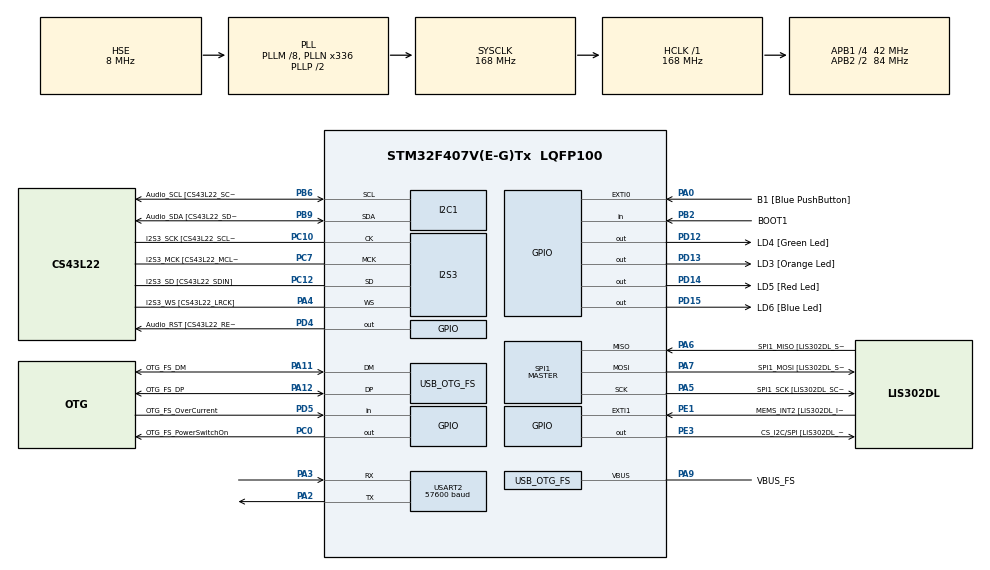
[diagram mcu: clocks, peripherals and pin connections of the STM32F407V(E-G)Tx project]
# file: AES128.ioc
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I2S3.AudioFreq-Half_Duplex_Master=I2S_AUDIOFREQ_96K
I2S3.ErrorAudioFreq=-2.34 %
I2S3.ErrorAudioFreq-Half_Duplex_Master=0.8 %
I2S3.FullDuplexMode=I2S_FULLDUPLEXMODE_DISABLE
I2S3.Instance=SPI$Index
I2S3.RealAudioFreq=93.75 KHz
I2S3.RealAudioFreq-Half_Duplex_Master=96.774 KHz
I2S3.VirtualMode=I2S_MODE_MASTER
Mcu.Family=STM32F4
Mcu.Name=STM32F407V(E-G)Tx
Mcu.Package=LQFP100
NVIC.OTG_FS_IRQn=true\:0\:0\:false\:false\:true\:true\:true\:true
NVIC.PriorityGroup=NVIC_PRIORITYGROUP_0
NVIC.USART2_IRQn=true\:0\:0\:false\:false\:true\:true\:true\:true
PA0-WKUP.GPIO_Label=B1 [Blue PushButton]
PA0-WKUP.GPIO_ModeDefaultEXTI=GPIO_MODE_EVT_RISING
PA0-WKUP.GPIO_PuPd=GPIO_NOPULL
PA0-WKUP.Signal=GPXTI0
PA10.GPIO_Label=OTG_FS_ID
PA10.GPIO_Mode=GPIO_MODE_AF_PP
PA10.GPIO_PuPd=GPIO_NOPULL
PA10.GPIO_Speed=GPIO_SPEED_FREQ_LOW
PA10.Signal=USB_OTG_FS_ID
PA11.GPIO_Label=OTG_FS_DM
PA11.GPIO_Mode=GPIO_MODE_AF_PP
PA11.GPIO_PuPd=GPIO_NOPULL
PA11.GPIO_Speed=GPIO_SPEED_FREQ_LOW
PA11.Mode=Host_Only
PA11.Signal=USB_OTG_FS_DM
PA12.GPIO_Label=OTG_FS_DP
PA12.GPIO_Mode=GPIO_MODE_AF_PP
PA12.GPIO_PuPd=GPIO_NOPULL
PA12.GPIO_Speed=GPIO_SPEED_FREQ_LOW
PA12.Mode=Host_Only
PA12.Signal=USB_OTG_FS_DP
PA13.GPIO_Label=SWDIO
PA13.Mode=Serial_Wire
PA13.Signal=SYS_JTMS-SWDIO
PA14.GPIO_Label=SWCLK
PA14.Mode=Serial_Wire
PA14.Signal=SYS_JTCK-SWCLK
PA2.Mode=Asynchronous
PA2.Signal=USART2_TX
PA3.Mode=Asynchronous
PA3.Signal=USART2_RX
PA4.GPIO_Label=I2S3_WS [CS43L22_LRCK]
PA4.GPIO_Mode=GPIO_MODE_AF_PP
PA4.GPIO_PuPd=GPIO_NOPULL
PA4.GPIO_Speed=GPIO_SPEED_FREQ_LOW
PA4.Mode=Half_Duplex_Master
PA4.Signal=I2S3_WS
PA5.GPIO_Label=SPI1_SCK [LIS302DL_SCL/SPC]
PA5.GPIO_Mode=GPIO_MODE_AF_PP
PA5.GPIO_PuPd=GPIO_NOPULL
PA5.GPIO_Speed=GPIO_SPEED_FREQ_LOW
PA5.Mode=Full_Duplex_Master
PA5.Signal=SPI1_SCK
PA6.GPIO_Label=SPI1_MISO [LIS302DL_SDO]
PA6.GPIO_Mode=GPIO_MODE_AF_PP
PA6.GPIO_PuPd=GPIO_NOPULL
PA6.GPIO_Speed=GPIO_SPEED_FREQ_LOW
PA6.Mode=Full_Duplex_Master
PA6.Signal=SPI1_MISO
PA7.GPIO_Label=SPI1_MOSI [LIS302DL_SDA/SDI/SDO]
PA7.GPIO_Mode=GPIO_MODE_AF_PP
PA7.GPIO_PuPd=GPIO_NOPULL
PA7.GPIO_Speed=GPIO_SPEED_FREQ_LOW
PA7.Mode=Full_Duplex_Master
PA7.Signal=SPI1_MOSI
PA9.GPIO_Label=VBUS_FS
PA9.GPIO_Mode=GPIO_MODE_INPUT
PA9.GPIO_PuPd=GPIO_NOPULL
PA9.Mode=Activate_VBUS
PA9.Signal=USB_OTG_FS_VBUS
PB10.GPIO_Label=CLK_IN [MP45DT02_CLK]
PB10.GPIO_Mode=GPIO_MODE_AF_PP
PB10.GPIO_PuPd=GPIO_NOPULL
PB10.GPIO_Speed=GPIO_SPEED_FREQ_LOW
PB10.Signal=I2S2_CK
PB2.GPIO_Label=BOOT1
PB2.GPIO_Mode=GPIO_MODE_INPUT
PB2.GPIO_PuPd=GPIO_NOPULL
PB2.Signal=GPIO_Input
PB3.GPIO_Label=SWO
PB3.Signal=SYS_JTDO-SWO
PB6.GPIO_Label=Audio_SCL [CS43L22_SCL]
PB6.GPIO_Mode=GPIO_MODE_AF_OD
PB6.GPIO_Pu=GPIO_PULLUP
PB6.GPIO_PuPd=GPIO_NOPULL
PB6.GPIO_Speed=GPIO_SPEED_FREQ_LOW
PB6.Mode=I2C
PB6.Signal=I2C1_SCL
PB9.GPIO_Label=Audio_SDA [CS43L22_SDA]
PB9.GPIO_Mode=GPIO_MODE_AF_OD
PB9.GPIO_Pu=GPIO_PULLUP
PB9.GPIO_PuPd=GPIO_NOPULL
PB9.GPIO_Speed=GPIO_SPEED_FREQ_LOW
PB9.Mode=I2C
PB9.Signal=I2C1_SDA
PC0.GPIO_Label=OTG_FS_PowerSwitchOn
PC0.GPIO_PuPd=GPIO_NOPULL
PC0.GPIO_Speed=GPIO_SPEED_FREQ_LOW
PC0.PinState=GPIO_PIN_SET
PC0.Signal=GPIO_Output
PC10.GPIO_Label=I2S3_SCK [CS43L22_SCLK]
PC10.GPIO_Mode=GPIO_MODE_AF_PP
PC10.GPIO_PuPd=GPIO_NOPULL
PC10.GPIO_Speed=GPIO_SPEED_FREQ_LOW
PC10.Mode=Half_Duplex_Master
PC10.Signal=I2S3_CK
PC12.GPIO_Label=I2S3_SD [CS43L22_SDIN]
PC12.GPIO_Mode=GPIO_MODE_AF_PP
PC12.GPIO_PuPd=GPIO_NOPULL
PC12.GPIO_Speed=GPIO_SPEED_FREQ_LOW
PC12.Mode=Half_Duplex_Master
PC12.Signal=I2S3_SD
PC14-OSC32_IN.GPIO_Label=PC14-OSC32_IN
PC14-OSC32_IN.Mode=LSE-External-Oscillator
PC14-OSC32_IN.Signal=RCC_OSC32_IN
PC15-OSC32_OUT.GPIO_Label=PC15-OSC32_OUT
PC15-OSC32_OUT.Mode=LSE-External-Oscillator
PC15-OSC32_OUT.Signal=RCC_OSC32_OUT
PC3.GPIO_Label=PDM_OUT [MP45DT02_DOUT]
PC3.GPIO_Mode=GPIO_MODE_AF_PP
PC3.GPIO_PuPd=GPIO_NOPULL
PC3.GPIO_Speed=GPIO_SPEED_FREQ_LOW
PC3.Signal=I2S2_SD
PC7.GPIO_Label=I2S3_MCK [CS43L22_MCLK]
PC7.GPIO_Mode=GPIO_MODE_AF_PP
PC7.GPIO_PuPd=GPIO_NOPULL
PC7.GPIO_Speed=GPIO_SPEED_FREQ_LOW
PC7.Mode=Master_Clock_Activated
PC7.Signal=I2S3_MCK
PD12.GPIO_Label=LD4 [Green Led]
PD12.GPIO_PuPd=GPIO_NOPULL
PD12.GPIO_Speed=GPIO_SPEED_FREQ_LOW
PD12.Signal=GPIO_Output
PD13.GPIO_Label=LD3 [Orange Led]
PD13.GPIO_PuPd=GPIO_NOPULL
PD13.GPIO_Speed=GPIO_SPEED_FREQ_LOW
PD13.Signal=GPIO_Output
PD14.GPIO_Label=LD5 [Red Led]
PD14.GPIO_PuPd=GPIO_NOPULL
PD14.GPIO_Speed=GPIO_SPEED_FREQ_LOW
PD14.Signal=GPIO_Output
PD15.GPIO_Label=LD6 [Blue Led]
PD15.GPIO_PuPd=GPIO_NOPULL
PD15.GPIO_Speed=GPIO_SPEED_FREQ_LOW
PD15.Signal=GPIO_Output
PD4.GPIO_Label=Audio_RST [CS43L22_RESET]
PD4.GPIO_PuPd=GPIO_NOPULL
PD4.GPIO_Speed=GPIO_SPEED_FREQ_LOW
PD4.Signal=GPIO_Output
PD5.GPIO_Label=OTG_FS_OverCurrent
PD5.GPIO_Mode=GPIO_MODE_INPUT
PD5.GPIO_PuPd=GPIO_NOPULL
PD5.Signal=GPIO_Input
PE1.GPIO_Label=MEMS_INT2 [LIS302DL_INT2]
PE1.GPIO_ModeDefaultEXTI=GPIO_MODE_EVT_RISING
PE1.GPIO_PuPd=GPIO_NOPULL
PE1.Signal=GPXTI1
PE3.GPIO_Label=CS_I2C/SPI [LIS302DL_CS_I2C/SPI]
PE3.GPIO_PuPd=GPIO_NOPULL
PE3.GPIO_Speed=GPIO_SPEED_FREQ_LOW
PE3.Signal=GPIO_Output
PH0-OSC_IN.GPIO_Label=PH0-OSC_IN
PH0-OSC_IN.Mode=HSE-External-Oscillator
PH0-OSC_IN.Signal=RCC_OSC_IN
PH1-OSC_OUT.GPIO_Label=PH1-OSC_OUT
PH1-OSC_OUT.Mode=HSE-External-Oscillator
PH1-OSC_OUT.Signal=RCC_OSC_OUT
ProjectManager.HeapSize=0x200
ProjectManager.StackSize=0x400
ProjectManager.TargetToolchain=STM32CubeIDE
RCC.48MHZClocksFreq_Value=48000000
RCC.AHBFreq_Value=168000000
RCC.APB1CLKDivider=RCC_HCLK_DIV4
RCC.APB1Freq_Value=42000000
RCC.APB1TimFreq_Value=84000000
RCC.APB2CLKDivider=RCC_HCLK_DIV2
RCC.APB2Freq_Value=84000000
RCC.APB2TimFreq_Value=168000000
RCC.CortexFreq_Value=168000000
RCC.HCLKFreq_Value=168000000
RCC.HSE_VALUE=8000000
RCC.HSI_VALUE=16000000
RCC.PLLM=8
RCC.PLLN=336
RCC.PLLQ=7
RCC.SYSCLKFreq_VALUE=168000000
RCC.SYSCLKSource=RCC_SYSCLKSOURCE_PLLCLK
RCC.VCOOutputFreq_Value=336000000
SPI1.BaudRatePrescaler-Full_Duplex_Master=SPI_BAUDRATEPRESCALER_2
SPI1.CalculateBaudRate-Full_Duplex_Master=42.0 MBits/s
SPI1.Direction=SPI_DIRECTION_2LINES
SPI1.Mode=SPI_MODE_MASTER
SPI1.Mode-Full_Duplex_Master=SPI_MODE_MASTER
SPI1.VirtualType=VM_MASTER
USART2.BaudRate=57600
USART2.VirtualMode=VM_ASYNC
USB_HOST.BSP.number=1
USB_HOST.USBH_HandleTypeDef-CDC_FS=hUsbHostFS
USB_HOST.VirtualModeFS=Cdc
USB_HOST0.BSP.STBoard=false
USB_HOST0.BSP.api=Unknown
USB_HOST0.BSP.instance=PC0
USB_HOST0.BSP.ip=GPIO
USB_HOST0.BSP.mode=Output
USB_HOST0.BSP.name=Drive_VBUS_FS
USB_HOST0.BSP.solution=PC0
USB_OTG_FS.VirtualMode=Host_Only
USB_OTG_FS.phy_itface=HCD_PHY_EMBEDDED
VP_USB_HOST_VS_USB_HOST_CDC_FS.Mode=CDC_FS
board=STM32F407G-DISC1

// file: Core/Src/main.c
/* USER CODE BEGIN Header */
/**
  ******************************************************************************
  * @file           : main.c
  * @brief          : Main program body
  ******************************************************************************
  * @attention
  *
  * Copyright (c) 2025 STMicroelectronics.
  * All rights reserved.
  *
  * This software is licensed under terms that can be found in the LICENSE file
  * in the root directory of this software component.
  * If no LICENSE file comes with this software, it is provided AS-IS.
  *
  ******************************************************************************
  */
/* USER CODE END Header */
#include "main.h"
#include "usb_host.h"
#include "aes.h"
#include "SHA1.h"
#include "string.h"

/* USER CODE BEGIN PD */

uint8_t aes_key[16] = "BenimAESkey1234";

uint8_t mesaj[16] = "FatihGizliVeri1";

uint8_t encrypted[16];

uint8_t decrypted[16];

uint8_t Transmit_Data[36];

char output_hash[20];

/* USER CODE END PD */

I2C_HandleTypeDef hi2c1;

I2S_HandleTypeDef hi2s3;

SPI_HandleTypeDef hspi1;

UART_HandleTypeDef huart2;

void SystemClock_Config(void);
static void MX_GPIO_Init(void);
static void MX_I2C1_Init(void);
static void MX_I2S3_Init(void);
static void MX_SPI1_Init(void);
static void MX_USART2_UART_Init(void);
void MX_USB_HOST_Process(void);

int main(void)
{

  /* MCU Configuration--------------------------------------------------------*/

  /* Reset of all peripherals, Initializes the Flash interface and the Systick. */
  HAL_Init();

  /* Configure the system clock */
  SystemClock_Config();

  /* Initialize all configured peripherals */
  MX_GPIO_Init();
  MX_I2C1_Init();
  MX_I2S3_Init();
  MX_SPI1_Init();
  MX_USB_HOST_Init();
  MX_USART2_UART_Init();
  /* USER CODE BEGIN 2 */

  // AES128

  struct AES_ctx ctx;
  AES_init_ctx(&ctx, aes_key);  // Key oluşturmamız lazım.

  // Veriyi Şifreliyoruz.
  memcpy(encrypted, mesaj, 16);
  AES_ECB_encrypt(&ctx, encrypted);

//  memcpy(encrypted,mesaj,16);
//  AES_ECB_encrypt(&ctx, encrypted);

  // SHA1

  SHA_CTX atx;

  SHA1_Init(&atx);

  SHA1_Update(&atx, encrypted, 16);

  SHA1_Final(output_hash, &atx);

  memcpy(Transmit_Data,encrypted,16);
  memcpy(Transmit_Data +16,output_hash,20);

  HAL_UART_Transmit_IT(&huart2, Transmit_Data, 36);

  /* USER CODE END 2 */

  /* Infinite loop */
  while (1)
  {
    MX_USB_HOST_Process();

  }
}

void SystemClock_Config(void)
{
  RCC_OscInitTypeDef RCC_OscInitStruct = {0};
  RCC_ClkInitTypeDef RCC_ClkInitStruct = {0};

  /** Configure the main internal regulator output voltage
  */
  __HAL_RCC_PWR_CLK_ENABLE();
  __HAL_PWR_VOLTAGESCALING_CONFIG(PWR_REGULATOR_VOLTAGE_SCALE1);

  /** Initializes the RCC Oscillators according to the specified parameters
  * in the RCC_OscInitTypeDef structure.
  */
  RCC_OscInitStruct.OscillatorType = RCC_OSCILLATORTYPE_HSE;
  RCC_OscInitStruct.HSEState = RCC_HSE_ON;
  RCC_OscInitStruct.PLL.PLLState = RCC_PLL_ON;
  RCC_OscInitStruct.PLL.PLLSource = RCC_PLLSOURCE_HSE;
  RCC_OscInitStruct.PLL.PLLM = 8;
  RCC_OscInitStruct.PLL.PLLN = 336;
  RCC_OscInitStruct.PLL.PLLP = RCC_PLLP_DIV2;
  RCC_OscInitStruct.PLL.PLLQ = 7;
  if (HAL_RCC_OscConfig(&RCC_OscInitStruct) != HAL_OK)
  {
    Error_Handler();
  }

  /** Initializes the CPU, AHB and APB buses clocks
  */
  RCC_ClkInitStruct.ClockType = RCC_CLOCKTYPE_HCLK|RCC_CLOCKTYPE_SYSCLK
                              |RCC_CLOCKTYPE_PCLK1|RCC_CLOCKTYPE_PCLK2;
  RCC_ClkInitStruct.SYSCLKSource = RCC_SYSCLKSOURCE_PLLCLK;
  RCC_ClkInitStruct.AHBCLKDivider = RCC_SYSCLK_DIV1;
  RCC_ClkInitStruct.APB1CLKDivider = RCC_HCLK_DIV4;
  RCC_ClkInitStruct.APB2CLKDivider = RCC_HCLK_DIV2;

  if (HAL_RCC_ClockConfig(&RCC_ClkInitStruct, FLASH_LATENCY_5) != HAL_OK)
  {
    Error_Handler();
  }
}

static void MX_I2C1_Init(void)
{

  hi2c1.Instance = I2C1;
  hi2c1.Init.ClockSpeed = 100000;
  hi2c1.Init.DutyCycle = I2C_DUTYCYCLE_2;
  hi2c1.Init.OwnAddress1 = 0;
  hi2c1.Init.AddressingMode = I2C_ADDRESSINGMODE_7BIT;
  hi2c1.Init.DualAddressMode = I2C_DUALADDRESS_DISABLE;
  hi2c1.Init.OwnAddress2 = 0;
  hi2c1.Init.GeneralCallMode = I2C_GENERALCALL_DISABLE;
  hi2c1.Init.NoStretchMode = I2C_NOSTRETCH_DISABLE;
  if (HAL_I2C_Init(&hi2c1) != HAL_OK)
  {
    Error_Handler();
  }

}

static void MX_I2S3_Init(void)
{

  hi2s3.Instance = SPI3;
  hi2s3.Init.Mode = I2S_MODE_MASTER_TX;
  hi2s3.Init.Standard = I2S_STANDARD_PHILIPS;
  hi2s3.Init.DataFormat = I2S_DATAFORMAT_16B;
  hi2s3.Init.MCLKOutput = I2S_MCLKOUTPUT_ENABLE;
  hi2s3.Init.AudioFreq = I2S_AUDIOFREQ_96K;
  hi2s3.Init.CPOL = I2S_CPOL_LOW;
  hi2s3.Init.ClockSource = I2S_CLOCK_PLL;
  hi2s3.Init.FullDuplexMode = I2S_FULLDUPLEXMODE_DISABLE;
  if (HAL_I2S_Init(&hi2s3) != HAL_OK)
  {
    Error_Handler();
  }

}

static void MX_SPI1_Init(void)
{

  /* SPI1 parameter configuration*/
  hspi1.Instance = SPI1;
  hspi1.Init.Mode = SPI_MODE_MASTER;
  hspi1.Init.Direction = SPI_DIRECTION_2LINES;
  hspi1.Init.DataSize = SPI_DATASIZE_8BIT;
  hspi1.Init.CLKPolarity = SPI_POLARITY_LOW;
  hspi1.Init.CLKPhase = SPI_PHASE_1EDGE;
  hspi1.Init.NSS = SPI_NSS_SOFT;
  hspi1.Init.BaudRatePrescaler = SPI_BAUDRATEPRESCALER_2;
  hspi1.Init.FirstBit = SPI_FIRSTBIT_MSB;
  hspi1.Init.TIMode = SPI_TIMODE_DISABLE;
  hspi1.Init.CRCCalculation = SPI_CRCCALCULATION_DISABLE;
  hspi1.Init.CRCPolynomial = 10;
  if (HAL_SPI_Init(&hspi1) != HAL_OK)
  {
    Error_Handler();
  }

}

static void MX_USART2_UART_Init(void)
{

  huart2.Instance = USART2;
  huart2.Init.BaudRate = 57600;
  huart2.Init.WordLength = UART_WORDLENGTH_8B;
  huart2.Init.StopBits = UART_STOPBITS_1;
  huart2.Init.Parity = UART_PARITY_NONE;
  huart2.Init.Mode = UART_MODE_TX_RX;
  huart2.Init.HwFlowCtl = UART_HWCONTROL_NONE;
  huart2.Init.OverSampling = UART_OVERSAMPLING_16;
  if (HAL_UART_Init(&huart2) != HAL_OK)
  {
    Error_Handler();
  }

}

static void MX_GPIO_Init(void)
{
  GPIO_InitTypeDef GPIO_InitStruct = {0};

  /* GPIO Ports Clock Enable */
  __HAL_RCC_GPIOE_CLK_ENABLE();
  __HAL_RCC_GPIOC_CLK_ENABLE();
  __HAL_RCC_GPIOH_CLK_ENABLE();
  __HAL_RCC_GPIOA_CLK_ENABLE();
  __HAL_RCC_GPIOB_CLK_ENABLE();
  __HAL_RCC_GPIOD_CLK_ENABLE();

  /*Configure GPIO pin Output Level */
  HAL_GPIO_WritePin(CS_I2C_SPI_GPIO_Port, CS_I2C_SPI_Pin, GPIO_PIN_RESET);

  /*Configure GPIO pin Output Level */
  HAL_GPIO_WritePin(OTG_FS_PowerSwitchOn_GPIO_Port, OTG_FS_PowerSwitchOn_Pin, GPIO_PIN_SET);

  /*Configure GPIO pin Output Level */
  HAL_GPIO_WritePin(GPIOD, LD4_Pin|LD3_Pin|LD5_Pin|LD6_Pin
                          |Audio_RST_Pin, GPIO_PIN_RESET);

  /*Configure GPIO pin : CS_I2C_SPI_Pin */
  GPIO_InitStruct.Pin = CS_I2C_SPI_Pin;
  GPIO_InitStruct.Mode = GPIO_MODE_OUTPUT_PP;
  GPIO_InitStruct.Pull = GPIO_NOPULL;
  GPIO_InitStruct.Speed = GPIO_SPEED_FREQ_LOW;
  HAL_GPIO_Init(CS_I2C_SPI_GPIO_Port, &GPIO_InitStruct);

  /*Configure GPIO pin : OTG_FS_PowerSwitchOn_Pin */
  GPIO_InitStruct.Pin = OTG_FS_PowerSwitchOn_Pin;
  GPIO_InitStruct.Mode = GPIO_MODE_OUTPUT_PP;
  GPIO_InitStruct.Pull = GPIO_NOPULL;
  GPIO_InitStruct.Speed = GPIO_SPEED_FREQ_LOW;
  HAL_GPIO_Init(OTG_FS_PowerSwitchOn_GPIO_Port, &GPIO_InitStruct);

  /*Configure GPIO pin : PDM_OUT_Pin */
  GPIO_InitStruct.Pin = PDM_OUT_Pin;
  GPIO_InitStruct.Mode = GPIO_MODE_AF_PP;
  GPIO_InitStruct.Pull = GPIO_NOPULL;
  GPIO_InitStruct.Speed = GPIO_SPEED_FREQ_LOW;
  GPIO_InitStruct.Alternate = GPIO_AF5_SPI2;
  HAL_GPIO_Init(PDM_OUT_GPIO_Port, &GPIO_InitStruct);

  /*Configure GPIO pin : B1_Pin */
  GPIO_InitStruct.Pin = B1_Pin;
  GPIO_InitStruct.Mode = GPIO_MODE_EVT_RISING;
  GPIO_InitStruct.Pull = GPIO_NOPULL;
  HAL_GPIO_Init(B1_GPIO_Port, &GPIO_InitStruct);

  /*Configure GPIO pin : BOOT1_Pin */
  GPIO_InitStruct.Pin = BOOT1_Pin;
  GPIO_InitStruct.Mode = GPIO_MODE_INPUT;
  GPIO_InitStruct.Pull = GPIO_NOPULL;
  HAL_GPIO_Init(BOOT1_GPIO_Port, &GPIO_InitStruct);

  /*Configure GPIO pin : CLK_IN_Pin */
  GPIO_InitStruct.Pin = CLK_IN_Pin;
  GPIO_InitStruct.Mode = GPIO_MODE_AF_PP;
  GPIO_InitStruct.Pull = GPIO_NOPULL;
  GPIO_InitStruct.Speed = GPIO_SPEED_FREQ_LOW;
  GPIO_InitStruct.Alternate = GPIO_AF5_SPI2;
  HAL_GPIO_Init(CLK_IN_GPIO_Port, &GPIO_InitStruct);

  /*Configure GPIO pins : LD4_Pin LD3_Pin LD5_Pin LD6_Pin
                           Audio_RST_Pin */
  GPIO_InitStruct.Pin = LD4_Pin|LD3_Pin|LD5_Pin|LD6_Pin
                          |Audio_RST_Pin;
  GPIO_InitStruct.Mode = GPIO_MODE_OUTPUT_PP;
  GPIO_InitStruct.Pull = GPIO_NOPULL;
  GPIO_InitStruct.Speed = GPIO_SPEED_FREQ_LOW;
  HAL_GPIO_Init(GPIOD, &GPIO_InitStruct);

  /*Configure GPIO pin : OTG_FS_OverCurrent_Pin */
  GPIO_InitStruct.Pin = OTG_FS_OverCurrent_Pin;
  GPIO_InitStruct.Mode = GPIO_MODE_INPUT;
  GPIO_InitStruct.Pull = GPIO_NOPULL;
  HAL_GPIO_Init(OTG_FS_OverCurrent_GPIO_Port, &GPIO_InitStruct);

  /*Configure GPIO pin : MEMS_INT2_Pin */
  GPIO_InitStruct.Pin = MEMS_INT2_Pin;
  GPIO_InitStruct.Mode = GPIO_MODE_EVT_RISING;
  GPIO_InitStruct.Pull = GPIO_NOPULL;
  HAL_GPIO_Init(MEMS_INT2_GPIO_Port, &GPIO_InitStruct);

}

/* USER CODE BEGIN 4 */

void HAL_UART_RxCpltCallback(UART_HandleTypeDef *huart){

	if(huart==&huart2){

        HAL_Delay(500);
        HAL_UART_Transmit_IT(&huart2, Transmit_Data, 36);

	}

}

/* USER CODE END 4 */

void Error_Handler(void)
{
  __disable_irq();
  while (1)
  {
  }
}
